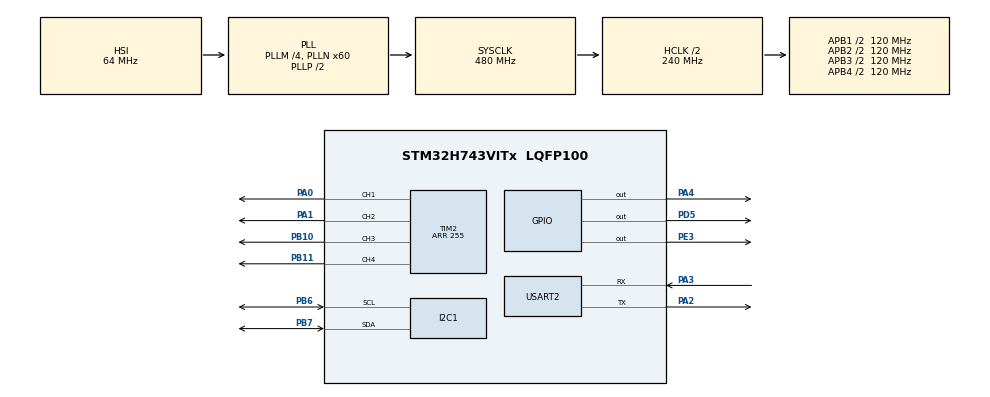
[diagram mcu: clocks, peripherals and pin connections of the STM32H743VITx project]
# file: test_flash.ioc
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CORTEX_M7.default_mode_Activation=1
FREERTOS.Tasks01=Task1,40,1024,SensorAquisition,Default,NULL,Dynamic,NULL,NULL;myTask02,24,1024,PID_Loop,Default,NULL,Dynamic,NULL,NULL;myTask03,25,512,PWM_Driver,Default,NULL,Dynamic,NULL,NULL
FREERTOS.configUSE_NEWLIB_REENTRANT=1
I2C1.Timing=0x307075B1
Mcu.Family=STM32H7
Mcu.Name=STM32H743VITx
Mcu.Package=LQFP100
NVIC.PriorityGroup=NVIC_PRIORITYGROUP_4
NVIC.TIM4_IRQn=true\:5\:0\:false\:false\:true\:true\:true\:true\:true
NVIC.TIM6_DAC_IRQn=true\:15\:0\:false\:false\:true\:false\:false\:true\:true
NVIC.TimeBase=TIM6_DAC_IRQn
NVIC.TimeBaseIP=TIM6
PA0.Signal=S_TIM2_CH1_ETR
PA1.Signal=S_TIM2_CH2
PA2.Mode=Asynchronous
PA2.Signal=USART2_TX
PA3.Mode=Asynchronous
PA3.Signal=USART2_RX
PA4.Signal=GPIO_Output
PB10.Signal=S_TIM2_CH3
PB11.Signal=S_TIM2_CH4
PB6.Mode=I2C
PB6.Signal=I2C1_SCL
PB7.Mode=I2C
PB7.Signal=I2C1_SDA
PD5.Signal=GPIO_Output
PE3.Signal=GPIO_Output
ProjectManager.HeapSize=0x200
ProjectManager.StackSize=0x400
ProjectManager.TargetToolchain=STM32CubeIDE
RCC.ADCFreq_Value=129000000
RCC.APB1Freq_Value=120000000
RCC.APB2Freq_Value=120000000
RCC.APB3Freq_Value=120000000
RCC.APB4Freq_Value=120000000
RCC.CortexFreq_Value=480000000
RCC.D1PPRE=RCC_APB3_DIV2
RCC.D2PPRE1=RCC_APB1_DIV2
RCC.D2PPRE2=RCC_APB2_DIV2
RCC.D3PPRE=RCC_APB4_DIV2
RCC.DIVM1=4
RCC.DIVN1=60
RCC.HCLKFreq_Value=240000000
RCC.HPRE=RCC_HCLK_DIV2
RCC.PLLFRACN=0
RCC.SYSCLKFreq_VALUE=480000000
RCC.SYSCLKSource=RCC_SYSCLKSOURCE_PLLCLK
RCC.USBFreq_Value=480000000
SH.S_TIM2_CH1_ETR.0=TIM2_CH1,PWM Generation1 CH1
SH.S_TIM2_CH2.0=TIM2_CH2,PWM Generation2 CH2
SH.S_TIM2_CH3.0=TIM2_CH3,PWM Generation3 CH3
SH.S_TIM2_CH4.0=TIM2_CH4,PWM Generation4 CH4
TIM2.AutoReloadPreload=TIM_AUTORELOAD_PRELOAD_ENABLE
TIM2.Channel-PWM\ Generation1\ CH1=TIM_CHANNEL_1
TIM2.Channel-PWM\ Generation2\ CH2=TIM_CHANNEL_2
TIM2.Channel-PWM\ Generation3\ CH3=TIM_CHANNEL_3
TIM2.Channel-PWM\ Generation4\ CH4=TIM_CHANNEL_4
TIM2.Period=255
TIM4.Period=30-1
TIM4.Prescaler=8000-1
USART2.VirtualMode-Asynchronous=VM_ASYNC
VP_FREERTOS_VS_CMSIS_V2.Mode=CMSIS_V2
VP_MEMORYMAP_VS_MEMORYMAP.Mode=CurAppReg
VP_SYS_VS_tim6.Mode=TIM6
VP_TIM2_VS_ClockSourceINT.Mode=Internal
VP_TIM4_VS_ClockSourceINT.Mode=Internal
board=custom

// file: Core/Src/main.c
/* USER CODE BEGIN Header */
/**
  ******************************************************************************
  * @file           : main.c
  * @brief          : Main program body
  ******************************************************************************
  * @attention
  *
  * Copyright (c) 2025 STMicroelectronics.
  * All rights reserved.
  *
  * This software is licensed under terms that can be found in the LICENSE file
  * in the root directory of this software component.
  * If no LICENSE file comes with this software, it is provided AS-IS.
  *
  ******************************************************************************
  */
/* USER CODE END Header */
#include "main.h"
#include "cmsis_os.h"

/* USER CODE BEGIN Includes */
#include "MPU9250.h"
#include "Kalman_filter.h"
#include "string.h"
#include "stdio.h"
//
//#include "FreeRTOS.h"
#include "task.h"
#include "timers.h"
#include "queue.h"
#include "semphr.h"
#include "event_groups.h"

/* USER CODE END Includes */

I2C_HandleTypeDef hi2c1;

TIM_HandleTypeDef htim2;
TIM_HandleTypeDef htim4;

UART_HandleTypeDef huart2;

/* Definitions for Task1 */
osThreadId_t Task1Handle;
const osThreadAttr_t Task1_attributes = {
  .name = "Task1",
  .stack_size = 1024 * 4,
  .priority = (osPriority_t) osPriorityHigh,
};
/* Definitions for myTask02 */
osThreadId_t myTask02Handle;
const osThreadAttr_t myTask02_attributes = {
  .name = "myTask02",
  .stack_size = 1024 * 4,
  .priority = (osPriority_t) osPriorityNormal,
};
/* Definitions for myTask03 */
osThreadId_t myTask03Handle;
const osThreadAttr_t myTask03_attributes = {
  .name = "myTask03",
  .stack_size = 512 * 4,
  .priority = (osPriority_t) osPriorityNormal1,
};

void SystemClock_Config(void);
static void MPU_Config(void);
static void MX_GPIO_Init(void);
static void MX_I2C1_Init(void);
static void MX_TIM2_Init(void);
static void MX_USART2_UART_Init(void);
static void MX_TIM4_Init(void);
void SensorAquisition(void *argument);
void PID_Loop(void *argument);
void PWM_Driver(void *argument);

/* USER CODE BEGIN 0 */

typedef struct {
    float kp;
    float ki;
    float kd;
    float prev_err;
    float setpoint;
    float integral;
    float interval;
} PID;

PID myPID;

float bias_gyro_x = 0,bias_gyro_y = 0,bias_gyro_z = 0;

float roll = 0;
float pitch = 0;

raw_readings readings;

//SemaphoreHandle_t Counting_Sem;
int Resources[] = {111,222,333};
int indx = 0;
char debug_buffer[150];

volatile uint32_t previous_counter_value = 0;
volatile uint32_t period_ticks = 0;
SemaphoreHandle_t mySemaphore;
// notification for ISR
static TaskHandle_t xMyTaskToNotify = NULL;

//Queue handler
QueueHandle_t queue_sensor_value;
QueueHandle_t queue_pid_output;
/* Counter to track ISR ticks */
#define ISR_TICKS_PER_TASK 1

//xSemaphoreHandle sem;
//osSemaphoreId_t xBinarySemaphore;

/* USER CODE END 0 */

int main(void)
{

  /* MPU Configuration--------------------------------------------------------*/
  MPU_Config();

  /* MCU Configuration--------------------------------------------------------*/

  /* Reset of all peripherals, Initializes the Flash interface and the Systick. */
  HAL_Init();

  /* Configure the system clock */
  SystemClock_Config();

  /* Initialize all configured peripherals */
  MX_GPIO_Init();
  MX_I2C1_Init();
  MX_TIM2_Init();
  MX_USART2_UART_Init();
  MX_TIM4_Init();
  /* USER CODE BEGIN 2 */

  HAL_TIM_PWM_Start(&htim2, TIM_CHANNEL_1);
  HAL_TIM_PWM_Start(&htim2, TIM_CHANNEL_2);
  HAL_TIM_PWM_Start(&htim2, TIM_CHANNEL_3);
  HAL_TIM_PWM_Start(&htim2, TIM_CHANNEL_4);

  //IMU code
  init_MPU(&hi2c1);

//  Counting_Sem = xSemaphoreCreateCounting(3,0);
  HAL_TIM_Base_Start_IT(&htim4);
//  xBinarySemaphore = xSemaphoreCreateBinary();

  myPID.kp = 60;
  myPID.ki = 0.01;
  myPID.kd = 0;
  myPID.integral = 0;
  myPID.setpoint = 0;
  myPID.prev_err = 0;
  myPID.interval = 0.001;

    // bias correction startup code
    int attempts = 0;
    int i = 0;
    int total_samples = 500;

    while( i < total_samples && attempts < 1000){
    	raw_readings readings_temp;

        get_values_MPU(&hi2c1,&readings_temp);

        if(  readings_temp.x_gyro_degree != 0 || readings_temp.y_gyro_degree != 0 || readings_temp.z_gyro_degree != 0 ){
            bias_gyro_x += readings_temp.x_gyro_degree;
            bias_gyro_y += readings_temp.y_gyro_degree;
            bias_gyro_z += readings_temp.z_gyro_degree;
            i++;
        }

        HAL_Delay(5);  // give time to settle
        attempts++;
    }

      bias_gyro_x /= (float)total_samples;
      bias_gyro_y /= (float)total_samples;
      bias_gyro_z /= (float)total_samples;

//     timer_val = __HAL_TIM_GET_COUNTER(&htim4);

  /* USER CODE END 2 */

  /* Init scheduler */
  osKernelInitialize();

  /* USER CODE BEGIN RTOS_SEMAPHORES */
  /* add semaphores, ... */
  mySemaphore = xSemaphoreCreateBinary();
  if(mySemaphore == NULL)
  {
      // Handle error: not enough heap
	  	  char msg[] = "Err! Ran out of Heap for semaphore\r\n";
	  	  HAL_UART_Transmit(&huart2, (uint8_t*)msg, strlen(msg), HAL_MAX_DELAY);
  }

  /* USER CODE END RTOS_SEMAPHORES */

  /* USER CODE BEGIN RTOS_QUEUES */
  /* add queues, ... */
  queue_sensor_value = xQueueCreate(1, sizeof(uint32_t));
  queue_pid_output = xQueueCreate(1, sizeof(uint32_t));
  /* USER CODE END RTOS_QUEUES */

  /* Create the thread(s) */
  /* creation of Task1 */
  Task1Handle = osThreadNew(SensorAquisition, NULL, &Task1_attributes);

  /* creation of myTask02 */
  myTask02Handle = osThreadNew(PID_Loop, NULL, &myTask02_attributes);

  /* creation of myTask03 */
  myTask03Handle = osThreadNew(PWM_Driver, NULL, &myTask03_attributes);

  /* Start scheduler */
  osKernelStart();

  /* We should never get here as control is now taken by the scheduler */

  /* Infinite loop */
  while (1)
  {

    /* USER CODE BEGIN 3 */

//	  __HAL_TIM_SET_COMPARE(&htim2,TIM_CHANNEL_1,255);
//	  __HAL_TIM_SET_COMPARE(&htim2,TIM_CHANNEL_4,255);
//		  HAL_Delay(100);
//	  HAL_GPIO_TogglePin(GPIOA, GPIO_PIN_4);
//	  strcpy(debug_buffer,"This is Highest Priority: SensorAquisition\n");
//	  char msg[] = "Hello Arduino!\r\n";
//	  HAL_UART_Transmit(&huart2, (uint8_t*)msg, strlen(msg), HAL_MAX_DELAY);

//	  char msg[] = "Sensor Aquisition Task 1\r\n";
//	  HAL_UART_Transmit(&huart2, (uint8_t*)msg, strlen(msg), 50);

//	  	readings.x_acc_g = 0;
//	  	readings.y_acc_g = 0;
//	  	readings.z_acc_g = 0;
//	  	readings.x_gyro_degree = 0;
//	  	readings.y_gyro_degree = 0;
//	  	readings.z_gyro_degree = 0;
//	  	readings.x_mag = 0;
//	  	readings.y_mag = 0;
//	  	readings.z_mag = 0;
//	  	  get_values_MPU(&hi2c1,&readings);
//
//	  	readings.x_gyro_degree -= bias_gyro_x;
//	  	readings.y_gyro_degree -= bias_gyro_y;
//	  	readings.z_gyro_degree -= bias_gyro_z;
//
//
//	  	Complementary_filter(&readings,&pitch,&roll);

//
//	  	//PID control loop
//	  	float error = myPID.setpoint - pitch;
//
//	  	        // Integral term
//	  	myPID.integral += error * myPID.interval;
//
//	  	        // Derivative term
//	  	float derivative = (error - myPID.prev_err) / myPID.interval;
//
//	  	        // PID output
//	  	float output = myPID.kp * error + myPID.ki * myPID.integral + myPID.kd * derivative;
//
//	  	        // Save current error for next derivative calculation
//	  	myPID.prev_err = error;
//	  	//use output in degrees to calibrate pwm
//
//	  	float scale = 80.0f; // adjust to taste
//	  	int pwm = (int)fabs(output) * scale;
//	  	if (pwm > 255) pwm = 255;
//
//	  	if (output < 0) {
//	  	    // Reverse
//	  	    __HAL_TIM_SET_COMPARE(&htim2, TIM_CHANNEL_1, pwm);
//	  	    __HAL_TIM_SET_COMPARE(&htim2, TIM_CHANNEL_4, pwm);
//	  	    __HAL_TIM_SET_COMPARE(&htim2, TIM_CHANNEL_2, 0);
//	  	    __HAL_TIM_SET_COMPARE(&htim2, TIM_CHANNEL_3, 0);
//	  	} else {
//	  	    // Forward
//	  	    __HAL_TIM_SET_COMPARE(&htim2, TIM_CHANNEL_2, pwm);
//	  	    __HAL_TIM_SET_COMPARE(&htim2, TIM_CHANNEL_3, pwm);
//	  	    __HAL_TIM_SET_COMPARE(&htim2, TIM_CHANNEL_1, 0);
//	  	    __HAL_TIM_SET_COMPARE(&htim2, TIM_CHANNEL_4, 0);
//	  	}

		  // Transmit data arduino debug

//	  		  char buffer2[32];
//	  		  snprintf(buffer2, sizeof(buffer2), "Pitch,Roll:%f,%f\n", pitch, roll);
//	  		 HAL_I2C_Master_Transmit(&hi2c1, 0x48 << 1, (uint8_t*)buffer2, sizeof(buffer2), 100);

  }
  /* USER CODE END 3 */
}

void SystemClock_Config(void)
{
  RCC_OscInitTypeDef RCC_OscInitStruct = {0};
  RCC_ClkInitTypeDef RCC_ClkInitStruct = {0};

  /** Supply configuration update enable
  */
  HAL_PWREx_ConfigSupply(PWR_LDO_SUPPLY);

  /** Configure the main internal regulator output voltage
  */
  __HAL_PWR_VOLTAGESCALING_CONFIG(PWR_REGULATOR_VOLTAGE_SCALE0);

  while(!__HAL_PWR_GET_FLAG(PWR_FLAG_VOSRDY)) {}

  /** Initializes the RCC Oscillators according to the specified parameters
  * in the RCC_OscInitTypeDef structure.
  */
  RCC_OscInitStruct.OscillatorType = RCC_OSCILLATORTYPE_HSI;
  RCC_OscInitStruct.HSIState = RCC_HSI_DIV1;
  RCC_OscInitStruct.HSICalibrationValue = RCC_HSICALIBRATION_DEFAULT;
  RCC_OscInitStruct.PLL.PLLState = RCC_PLL_ON;
  RCC_OscInitStruct.PLL.PLLSource = RCC_PLLSOURCE_HSI;
  RCC_OscInitStruct.PLL.PLLM = 4;
  RCC_OscInitStruct.PLL.PLLN = 60;
  RCC_OscInitStruct.PLL.PLLP = 2;
  RCC_OscInitStruct.PLL.PLLQ = 2;
  RCC_OscInitStruct.PLL.PLLR = 2;
  RCC_OscInitStruct.PLL.PLLRGE = RCC_PLL1VCIRANGE_3;
  RCC_OscInitStruct.PLL.PLLVCOSEL = RCC_PLL1VCOWIDE;
  RCC_OscInitStruct.PLL.PLLFRACN = 0;
  if (HAL_RCC_OscConfig(&RCC_OscInitStruct) != HAL_OK)
  {
    Error_Handler();
  }

  /** Initializes the CPU, AHB and APB buses clocks
  */
  RCC_ClkInitStruct.ClockType = RCC_CLOCKTYPE_HCLK|RCC_CLOCKTYPE_SYSCLK
                              |RCC_CLOCKTYPE_PCLK1|RCC_CLOCKTYPE_PCLK2
                              |RCC_CLOCKTYPE_D3PCLK1|RCC_CLOCKTYPE_D1PCLK1;
  RCC_ClkInitStruct.SYSCLKSource = RCC_SYSCLKSOURCE_PLLCLK;
  RCC_ClkInitStruct.SYSCLKDivider = RCC_SYSCLK_DIV1;
  RCC_ClkInitStruct.AHBCLKDivider = RCC_HCLK_DIV2;
  RCC_ClkInitStruct.APB3CLKDivider = RCC_APB3_DIV2;
  RCC_ClkInitStruct.APB1CLKDivider = RCC_APB1_DIV2;
  RCC_ClkInitStruct.APB2CLKDivider = RCC_APB2_DIV2;
  RCC_ClkInitStruct.APB4CLKDivider = RCC_APB4_DIV2;

  if (HAL_RCC_ClockConfig(&RCC_ClkInitStruct, FLASH_LATENCY_4) != HAL_OK)
  {
    Error_Handler();
  }
}

static void MX_I2C1_Init(void)
{

  hi2c1.Instance = I2C1;
  hi2c1.Init.Timing = 0x307075B1;
  hi2c1.Init.OwnAddress1 = 0;
  hi2c1.Init.AddressingMode = I2C_ADDRESSINGMODE_7BIT;
  hi2c1.Init.DualAddressMode = I2C_DUALADDRESS_DISABLE;
  hi2c1.Init.OwnAddress2 = 0;
  hi2c1.Init.OwnAddress2Masks = I2C_OA2_NOMASK;
  hi2c1.Init.GeneralCallMode = I2C_GENERALCALL_DISABLE;
  hi2c1.Init.NoStretchMode = I2C_NOSTRETCH_DISABLE;
  if (HAL_I2C_Init(&hi2c1) != HAL_OK)
  {
    Error_Handler();
  }

  /** Configure Analogue filter
  */
  if (HAL_I2CEx_ConfigAnalogFilter(&hi2c1, I2C_ANALOGFILTER_ENABLE) != HAL_OK)
  {
    Error_Handler();
  }

  /** Configure Digital filter
  */
  if (HAL_I2CEx_ConfigDigitalFilter(&hi2c1, 0) != HAL_OK)
  {
    Error_Handler();
  }

}

static void MX_TIM2_Init(void)
{

  TIM_ClockConfigTypeDef sClockSourceConfig = {0};
  TIM_MasterConfigTypeDef sMasterConfig = {0};
  TIM_OC_InitTypeDef sConfigOC = {0};

  htim2.Instance = TIM2;
  htim2.Init.Prescaler = 0;
  htim2.Init.CounterMode = TIM_COUNTERMODE_UP;
  htim2.Init.Period = 255;
  htim2.Init.ClockDivision = TIM_CLOCKDIVISION_DIV1;
  htim2.Init.AutoReloadPreload = TIM_AUTORELOAD_PRELOAD_ENABLE;
  if (HAL_TIM_Base_Init(&htim2) != HAL_OK)
  {
    Error_Handler();
  }
  sClockSourceConfig.ClockSource = TIM_CLOCKSOURCE_INTERNAL;
  if (HAL_TIM_ConfigClockSource(&htim2, &sClockSourceConfig) != HAL_OK)
  {
    Error_Handler();
  }
  if (HAL_TIM_PWM_Init(&htim2) != HAL_OK)
  {
    Error_Handler();
  }
  sMasterConfig.MasterOutputTrigger = TIM_TRGO_RESET;
  sMasterConfig.MasterSlaveMode = TIM_MASTERSLAVEMODE_DISABLE;
  if (HAL_TIMEx_MasterConfigSynchronization(&htim2, &sMasterConfig) != HAL_OK)
  {
    Error_Handler();
  }
  sConfigOC.OCMode = TIM_OCMODE_PWM1;
  sConfigOC.Pulse = 0;
  sConfigOC.OCPolarity = TIM_OCPOLARITY_HIGH;
  sConfigOC.OCFastMode = TIM_OCFAST_DISABLE;
  if (HAL_TIM_PWM_ConfigChannel(&htim2, &sConfigOC, TIM_CHANNEL_1) != HAL_OK)
  {
    Error_Handler();
  }
  if (HAL_TIM_PWM_ConfigChannel(&htim2, &sConfigOC, TIM_CHANNEL_2) != HAL_OK)
  {
    Error_Handler();
  }
  if (HAL_TIM_PWM_ConfigChannel(&htim2, &sConfigOC, TIM_CHANNEL_3) != HAL_OK)
  {
    Error_Handler();
  }
  if (HAL_TIM_PWM_ConfigChannel(&htim2, &sConfigOC, TIM_CHANNEL_4) != HAL_OK)
  {
    Error_Handler();
  }
  HAL_TIM_MspPostInit(&htim2);

}

static void MX_TIM4_Init(void)
{

  TIM_ClockConfigTypeDef sClockSourceConfig = {0};
  TIM_MasterConfigTypeDef sMasterConfig = {0};

  htim4.Instance = TIM4;
  htim4.Init.Prescaler = 8000-1;
  htim4.Init.CounterMode = TIM_COUNTERMODE_UP;
  htim4.Init.Period = 30-1;
  htim4.Init.ClockDivision = TIM_CLOCKDIVISION_DIV1;
  htim4.Init.AutoReloadPreload = TIM_AUTORELOAD_PRELOAD_DISABLE;
  if (HAL_TIM_Base_Init(&htim4) != HAL_OK)
  {
    Error_Handler();
  }
  sClockSourceConfig.ClockSource = TIM_CLOCKSOURCE_INTERNAL;
  if (HAL_TIM_ConfigClockSource(&htim4, &sClockSourceConfig) != HAL_OK)
  {
    Error_Handler();
  }
  sMasterConfig.MasterOutputTrigger = TIM_TRGO_RESET;
  sMasterConfig.MasterSlaveMode = TIM_MASTERSLAVEMODE_DISABLE;
  if (HAL_TIMEx_MasterConfigSynchronization(&htim4, &sMasterConfig) != HAL_OK)
  {
    Error_Handler();
  }

}

static void MX_USART2_UART_Init(void)
{

  huart2.Instance = USART2;
  huart2.Init.BaudRate = 115200;
  huart2.Init.WordLength = UART_WORDLENGTH_8B;
  huart2.Init.StopBits = UART_STOPBITS_1;
  huart2.Init.Parity = UART_PARITY_NONE;
  huart2.Init.Mode = UART_MODE_TX_RX;
  huart2.Init.HwFlowCtl = UART_HWCONTROL_NONE;
  huart2.Init.OverSampling = UART_OVERSAMPLING_16;
  huart2.Init.OneBitSampling = UART_ONE_BIT_SAMPLE_DISABLE;
  huart2.Init.ClockPrescaler = UART_PRESCALER_DIV1;
  huart2.AdvancedInit.AdvFeatureInit = UART_ADVFEATURE_NO_INIT;
  if (HAL_UART_Init(&huart2) != HAL_OK)
  {
    Error_Handler();
  }
  if (HAL_UARTEx_SetTxFifoThreshold(&huart2, UART_TXFIFO_THRESHOLD_1_8) != HAL_OK)
  {
    Error_Handler();
  }
  if (HAL_UARTEx_SetRxFifoThreshold(&huart2, UART_RXFIFO_THRESHOLD_1_8) != HAL_OK)
  {
    Error_Handler();
  }
  if (HAL_UARTEx_DisableFifoMode(&huart2) != HAL_OK)
  {
    Error_Handler();
  }

}

static void MX_GPIO_Init(void)
{
  GPIO_InitTypeDef GPIO_InitStruct = {0};

  /* GPIO Ports Clock Enable */
  __HAL_RCC_GPIOE_CLK_ENABLE();
  __HAL_RCC_GPIOA_CLK_ENABLE();
  __HAL_RCC_GPIOB_CLK_ENABLE();
  __HAL_RCC_GPIOD_CLK_ENABLE();

  /*Configure GPIO pin Output Level */
  HAL_GPIO_WritePin(GPIOE, GPIO_PIN_3, GPIO_PIN_RESET);

  /*Configure GPIO pin Output Level */
  HAL_GPIO_WritePin(GPIOA, GPIO_PIN_4, GPIO_PIN_RESET);

  /*Configure GPIO pin Output Level */
  HAL_GPIO_WritePin(GPIOD, GPIO_PIN_5, GPIO_PIN_RESET);

  /*Configure GPIO pin : PE3 */
  GPIO_InitStruct.Pin = GPIO_PIN_3;
  GPIO_InitStruct.Mode = GPIO_MODE_OUTPUT_PP;
  GPIO_InitStruct.Pull = GPIO_NOPULL;
  GPIO_InitStruct.Speed = GPIO_SPEED_FREQ_LOW;
  HAL_GPIO_Init(GPIOE, &GPIO_InitStruct);

  /*Configure GPIO pin : PA4 */
  GPIO_InitStruct.Pin = GPIO_PIN_4;
  GPIO_InitStruct.Mode = GPIO_MODE_OUTPUT_PP;
  GPIO_InitStruct.Pull = GPIO_NOPULL;
  GPIO_InitStruct.Speed = GPIO_SPEED_FREQ_LOW;
  HAL_GPIO_Init(GPIOA, &GPIO_InitStruct);

  /*Configure GPIO pin : PD5 */
  GPIO_InitStruct.Pin = GPIO_PIN_5;
  GPIO_InitStruct.Mode = GPIO_MODE_OUTPUT_PP;
  GPIO_InitStruct.Pull = GPIO_NOPULL;
  GPIO_InitStruct.Speed = GPIO_SPEED_FREQ_LOW;
  HAL_GPIO_Init(GPIOD, &GPIO_InitStruct);

}

/* USER CODE BEGIN 4 */
// ISR for PID

/* USER CODE END 4 */

void SensorAquisition(void *argument)
{
  /* USER CODE BEGIN 5 */
  /* Infinite loop */
  for(;;)
  {
//	  	  char msg[] = "Task1!\r\n";
//	  	  HAL_UART_Transmit_DMA(&huart2, (uint8_t*)msg, strlen(msg));

	  		  	readings.x_acc_g = 0;
	  		  	readings.y_acc_g = 0;
	  		  	readings.z_acc_g = 0;
	  		  	readings.x_gyro_degree = 0;
	  		  	readings.y_gyro_degree = 0;
	  		  	readings.z_gyro_degree = 0;
	  		  	readings.x_mag = 0;
	  		  	readings.y_mag = 0;
	  		  	readings.z_mag = 0;
	  		  	  get_values_MPU(&hi2c1,&readings);

	  		  	readings.x_gyro_degree -= bias_gyro_x;
	  		  	readings.y_gyro_degree -= bias_gyro_y;
	  		  	readings.z_gyro_degree -= bias_gyro_z;

	  		  	Complementary_filter(&readings,&pitch,&roll);
//	  		  	char msg[50] ;
//	  		  	sprintf(msg,"Sensor: %f\r\n", &pitch);
//	  		  	HAL_UART_Transmit(&huart2, (uint8_t*)msg, strlen(msg),40);
	  		  	xQueueOverwrite(queue_sensor_value, &pitch);
    osDelay(1);
  }
  /* USER CODE END 5 */
}

void PID_Loop(void *argument)
{
  /* USER CODE BEGIN PID_Loop */
	 xMyTaskToNotify = xTaskGetCurrentTaskHandle();

  /* Infinite loop */
  for(;;)
  {
//	  xSemaphoreTake(mySemaphore, portMAX_DELAY);
	  ulTaskNotifyTake(pdTRUE, portMAX_DELAY);
//  	  char msg[] = "Semaphore taken for Task2\r\n";
//  	  HAL_UART_Transmit_DMA(&huart2, (uint8_t*)msg, strlen(msg));
	  static float sensor_val = 0;
	  xQueueReceive(queue_sensor_value, &sensor_val,portMAX_DELAY);
	   HAL_GPIO_TogglePin(GPIOA, GPIO_PIN_4);
	  	//PID control loop
	  	float error = myPID.setpoint - sensor_val;

	  	        // Integral term
	  	myPID.integral += error * myPID.interval;

	  	        // Derivative term
	  	float derivative = (error - myPID.prev_err) / myPID.interval;

	  	        // PID output
	  	float output = myPID.kp * error + myPID.ki * myPID.integral + myPID.kd * derivative;
//	  	if (fabs(error) < 1.0) output = 0;

//	  	char msg[70] ;
//	  	sprintf(msg,"Val:%f\r\n", output);
//	  	HAL_UART_Transmit(&huart2, (uint8_t*)msg, strlen(msg),40);

	  	        // Save current error for next derivative calculation
	  	myPID.prev_err = error;
	  	// for signaling pwm queue
	  	xQueueOverwrite(queue_pid_output, &output);
	  	//use output in degrees to calibrate pwm
//  	osDelay(1);
//  	processEvent();
  }
  /* USER CODE END PID_Loop */
}

void PWM_Driver(void *argument)
{
  /* USER CODE BEGIN PWM_Driver */
  /* Infinite loop */
  for(;;)
  {
	  float pwm = 0;
	  xQueueReceive(queue_pid_output, &pwm,portMAX_DELAY);

	  int drive_pwm = (int)fabs(pwm);
	  if(drive_pwm > 255) drive_pwm = 255;

	  	  	if (pwm > 0) {
	  	  	    // Reverse
	  	  	    __HAL_TIM_SET_COMPARE(&htim2, TIM_CHANNEL_1, drive_pwm);
	  	  	    __HAL_TIM_SET_COMPARE(&htim2, TIM_CHANNEL_4, drive_pwm);
	  	  	    __HAL_TIM_SET_COMPARE(&htim2, TIM_CHANNEL_2, 0);
	  	  	    __HAL_TIM_SET_COMPARE(&htim2, TIM_CHANNEL_3, 0);
	  	  	} else {
	  	  	    // Forward
	  	  	    __HAL_TIM_SET_COMPARE(&htim2, TIM_CHANNEL_2, drive_pwm);
	  	  	    __HAL_TIM_SET_COMPARE(&htim2, TIM_CHANNEL_3, drive_pwm);
	  	  	    __HAL_TIM_SET_COMPARE(&htim2, TIM_CHANNEL_1, 0);
	  	  	    __HAL_TIM_SET_COMPARE(&htim2, TIM_CHANNEL_4, 0);
	  	  	}

    osDelay(1);
  }
  /* USER CODE END PWM_Driver */
}

 /* MPU Configuration */

void MPU_Config(void)
{
  MPU_Region_InitTypeDef MPU_InitStruct = {0};

  /* Disables the MPU */
  HAL_MPU_Disable();

  /** Initializes and configures the Region and the memory to be protected
  */
  MPU_InitStruct.Enable = MPU_REGION_ENABLE;
  MPU_InitStruct.Number = MPU_REGION_NUMBER0;
  MPU_InitStruct.BaseAddress = 0x0;
  MPU_InitStruct.Size = MPU_REGION_SIZE_4GB;
  MPU_InitStruct.SubRegionDisable = 0x87;
  MPU_InitStruct.TypeExtField = MPU_TEX_LEVEL0;
  MPU_InitStruct.AccessPermission = MPU_REGION_NO_ACCESS;
  MPU_InitStruct.DisableExec = MPU_INSTRUCTION_ACCESS_DISABLE;
  MPU_InitStruct.IsShareable = MPU_ACCESS_SHAREABLE;
  MPU_InitStruct.IsCacheable = MPU_ACCESS_NOT_CACHEABLE;
  MPU_InitStruct.IsBufferable = MPU_ACCESS_NOT_BUFFERABLE;

  HAL_MPU_ConfigRegion(&MPU_InitStruct);
  /* Enables the MPU */
  HAL_MPU_Enable(MPU_PRIVILEGED_DEFAULT);

}

void HAL_TIM_PeriodElapsedCallback(TIM_HandleTypeDef *htim)
{
  /* USER CODE BEGIN Callback 0 */
	  if (htim->Instance == TIM4)
	  {
	        BaseType_t xHigherPriorityTaskWoken = pdFALSE;

	        if(xMyTaskToNotify != NULL)
	        {
	            vTaskNotifyGiveFromISR(xMyTaskToNotify, &xHigherPriorityTaskWoken);
	            portYIELD_FROM_ISR(xHigherPriorityTaskWoken);
	        }

	  }

  /* USER CODE END Callback 0 */
  if (htim->Instance == TIM6)
  {
    HAL_IncTick();
  }
}

void Error_Handler(void)
{
  __disable_irq();
  while (1)
  {
  }
}
